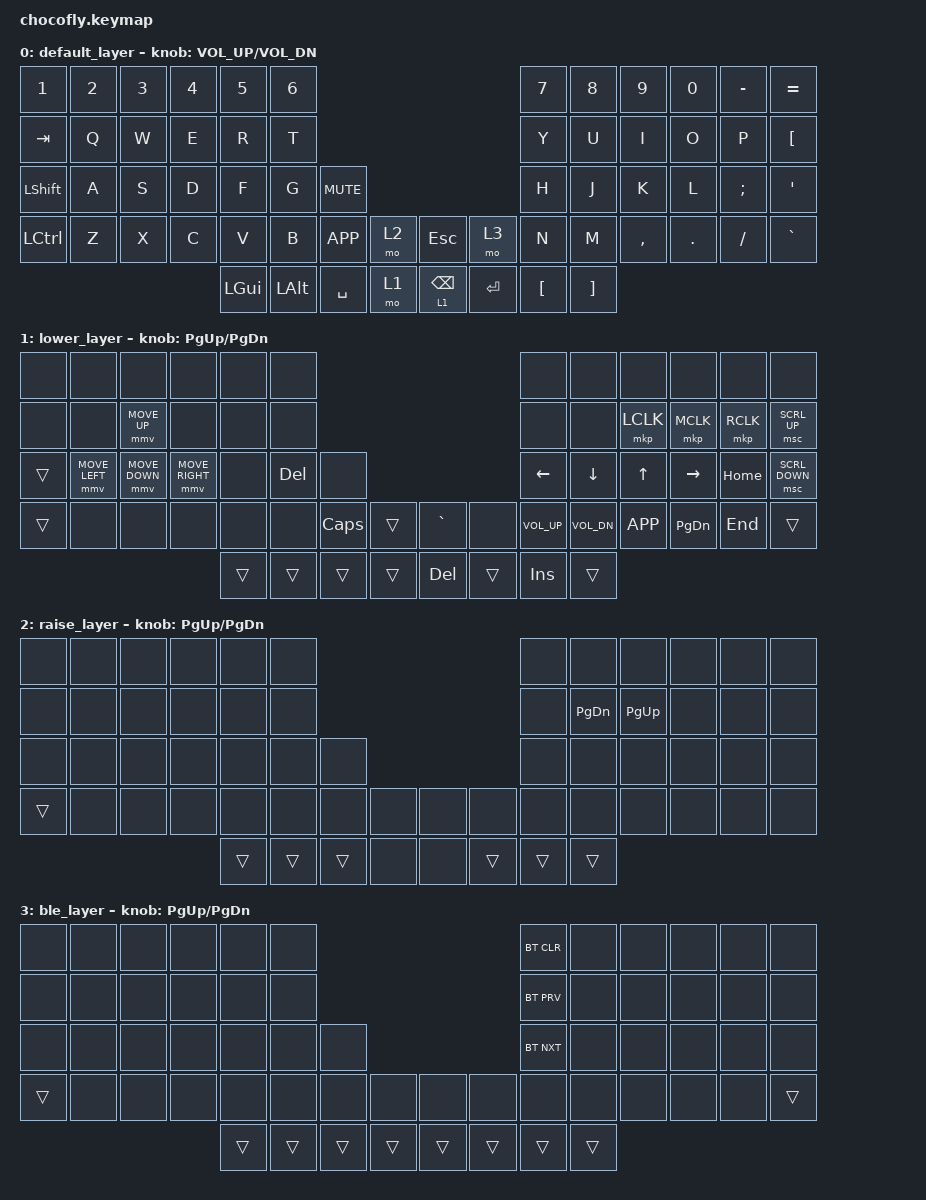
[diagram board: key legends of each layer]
#include <behaviors.dtsi>
#include <dt-bindings/zmk/keys.h>
#include <dt-bindings/zmk/bt.h>

#define ZMK_POINTING_DEFAULT_MOVE_VAL 1000  // default: 600
#include <dt-bindings/zmk/pointing.h>

&lt { quick_tap_ms = <200>; };
&mt { quick_tap_ms = <200>; };

/ {
    keymap {
        compatible = "zmk,keymap";

        default_layer {
// --------------------------------------------------------------------                                       -------------------------------------------------------------------
// |   1!    |    2@   |    3#   |    4$   |  5%         |  6^        |                                       |  7&           |    8*    |    9(   |   0)  |   -_    |     =+   |
// |   Tab   |    Q    |    W    |    E    |  R          |  T         |-----------                            |  Y            |    U     |    I    |   O   |   P     |     [\   |
// |   Shift |    A    |    S    |    D    |  F          |  G         |   Mute   |----------------------------|  H            |    J     |    K    |   L   |   ;     |     '"   |
// |   Ctrl  |    Z    |    X    |    C    |  V          |  B         |   App    |   Fn2  | Esc      |  Fn3   |  N            |    M     |    ,    |   .   |   /     |     `~   |
// ----------------------------------------|  GUI (Win)  |  Alt       |   SPACE  |   Fn1  | Bksp/Fn1 |  Enter |  [{           |    ]}    |---------------------------------------
//                                         ----------------------------------------------------------------------------------------------
           bindings = <
    &kp N1        &kp N2   &kp N3   &kp N4   &kp N5        &kp N6                                              &kp N7         &kp N8     &kp N9    &kp N0  &kp MINUS &kp EQUAL
    &kp TAB       &kp Q    &kp W    &kp E    &kp R         &kp T                                               &kp Y          &kp U      &kp I     &kp O   &kp P     &kp LBKT
    &kp LSHFT     &kp A    &kp S    &kp D    &kp F         &kp G       &kp K_MUTE                              &kp H          &kp J      &kp K     &kp L   &kp SEMI  &kp SQT
    &kp LCTRL     &kp Z    &kp X    &kp C    &kp V         &kp B       &kp K_APP   &mo 2   &kp ESC    &mo 3    &kp N          &kp M      &kp COMMA &kp DOT &kp FSLH  &kp GRAVE
                                             &kp LGUI      &kp LALT    &kp SPACE   &mo 1   &lt 1 BSPC &kp RET  &kp LBKT       &kp RBKT
            >;
            sensor-bindings = <&inc_dec_kp K_VOL_UP K_VOL_DN>;
        };

        lower_layer {
// -----------------------------------------------------------------------------                                       --------------------------------------------------------------------
// |         |              |              |               |         |         |                                       | F7         | F8      | F9      | F10     | F11         | F12     |
// |         |              | Mouse U      |               |         |         |----------                             |            |         | LClick  | MidClk  | RClick      | Scr Up  |
// |    -    | Mouse L      | Mouse D      | Mouse R       |         |         |         |-----------------------------| Left       | Down    | Up      | Right   | Home        | Scr Dwn |
// |    -    |              |              |               |         |         | Caps Lk |    -    | `~      |         | Vol Up     | Vol Dn  | Mute    |         | End         | Delete  |
// --------------------------------------------------------|    -    |  -      |    -    |    -    | Delete  |    -    | Insert     |    -    |--------------------------------------------
//                                                         ------------------------------------------------------------------------------------
            bindings = <
    &none    &none          &none          &none           &none     &none                                             &none        &none        &none      &none      &none     &none
    &none    &none          &mmv MOVE_UP   &none           &none     &none                                             &none        &none        &mkp LCLK  &mkp MCLK  &mkp RCLK &msc SCRL_UP
    &trans   &mmv MOVE_LEFT &mmv MOVE_DOWN &mmv MOVE_RIGHT &none     &kp DEL   &none                                   &kp LEFT     &kp DOWN     &kp UP     &kp RIGHT  &kp HOME  &msc SCRL_DOWN
    &trans   &none          &none          &none           &none     &none     &kp CAPS  &trans    &kp GRAVE &none     &kp K_VOL_UP &kp K_VOL_DN &kp K_APP  &kp PG_DN  &kp END   &trans
                                                           &trans    &trans    &trans    &trans    &kp DEL   &trans    &kp INS      &trans
            >;
            sensor-bindings = <&inc_dec_kp PG_UP PG_DN>;
        };

        raise_layer {
// -------------------------------------------------------------                                        ------------------------------------------------------------ 
// |         |         |         |         |         |         |                                       |         |         |         |         |         |         |
// |         |         |         |         |         |         |----------                             |         | Page Dn | Page Up |         |         |         |
// |         |         |         |         |         |         |         |-----------------------------|         |         |         |         |         |         |
// |    -    |         |         |         |         |         |         |         |         |         |         |         |         |         |         |         |
// ----------------------------------------|         |    -    |    -    |         |         |    -    |    -    |    -    |----------------------------------------
//                                         ---------------------------------------------------------------------------------
            bindings = <
    &none         &none    &none    &none     &none     &none                                          &none      &none     &none     &none      &none    &none
    &none         &none    &none    &none     &none     &none                                          &none      &kp PG_DN &kp PG_UP &none      &none    &none
    &none         &none    &none    &none     &none     &none     &none                                &none      &none     &none     &none      &none    &none
    &trans        &none    &none    &none     &none     &none     &none   &none    &none     &none     &none      &none     &none     &none      &none    &none 
                                              &trans    &trans    &trans  &none    &none     &trans    &trans     &trans
            >;
            sensor-bindings = <&inc_dec_kp PG_UP PG_DN>;
        };

        ble_layer {
// -------------------------------------------------------------                                       -------------------------------------------------------------------
// |         |         |         |         |         |         |                                       | Clear BT Prof |         |         |         |         |         |
// |         |         |         |         |         |         |----------                             | Prev BT Prof  |         |         |         |         |         |
// |         |         |         |         |         |         |         |-----------------------------| Next BT Prof  |         |         |         |         |         |
// |    -    |         |         |         |         |         |         |         |         |         |               |         |         |         |         |    -    |
// ----------------------------------------|    -    |    -    |    -    |    -    |    -    |    -    |    -          |    -    |----------------------------------------
//                                         ---------------------------------------------------------------------------------------
            bindings = <
    &none         &none    &none    &none     &none     &none                                          &bt BT_CLR      &none  &none    &none    &none    &none
    &none         &none    &none    &none     &none     &none                                          &bt BT_PRV      &none    &none    &none    &none    &none
    &none         &none    &none    &none     &none     &none     &none                                &bt BT_NXT      &none    &none    &none    &none    &none
    &trans        &none    &none    &none     &none     &none     &none   &none    &none     &none     &none           &none    &none    &none    &none    &trans
                                              &trans    &trans    &trans  &trans   &trans    &trans    &trans          &trans
            >;
            sensor-bindings = <&inc_dec_kp PG_UP PG_DN>;
        };
    };
};
